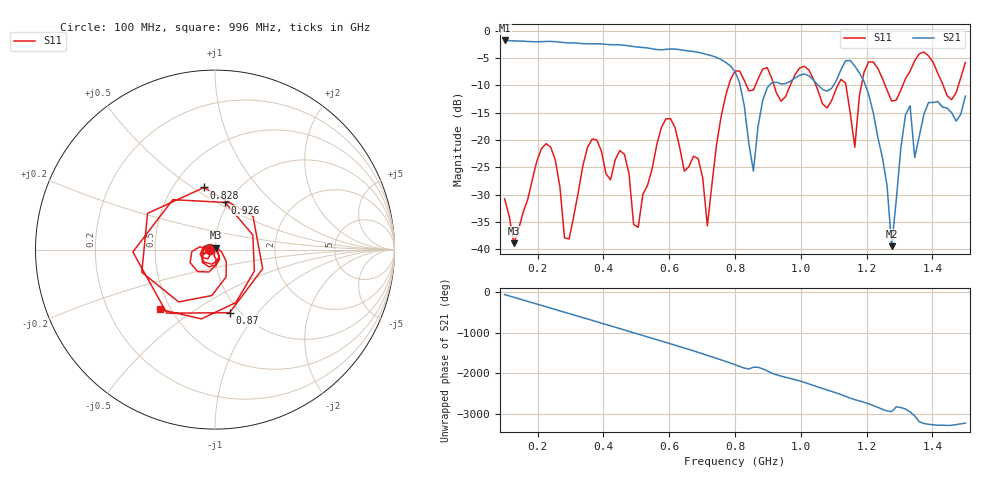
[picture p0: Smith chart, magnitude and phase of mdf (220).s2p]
! NanoVNA-App
! Date: 2025-09-25 15:40:08
! Start: 100MHz Stop: 1,5GHz Points: 101
! S-Parameter data: F S11 S21 S12 S22
# Hz S RI R 50
!  Frequency  S11_Real  S11_Imag  S21_Real  S21_Imag  S12_Real  S12_Imag  S22_Real  S22_Imag
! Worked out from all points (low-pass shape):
!   101 points, 100 MHz to 1.5 GHz, reference 50 ohm
!   highest |S21| = -1.80 dB at 100 MHz (marker M1); lowest = -39.4 dB at 1.276 GHz (marker M2)
!   |S21| within 3 dB of the highest: start of sweep to 739.2 MHz
!   lowest |S11| = -38.9 dB at 128 MHz (marker M3), VSWR 1.02, Z = 50.3 + j1.08 ohm
!   |S11| at or under -10 dB: start of sweep to 781 MHz; 1.046 GHz to 1.113 GHz (66.93 MHz wide, 6.2 % of centre); 1.256 GHz to 1.31 GHz (53.73 MHz wide, 4.19 % of centre) (the widest 3 of 7)
!   S12 and S22 are empty: the file has one direction only
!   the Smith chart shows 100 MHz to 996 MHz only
!   S11 on the Smith chart (normalised r, x): 100 MHz: 0.94, -0.01; 828 MHz: 0.70, +0.56; 870 MHz: 0.90, -0.73; 926 MHz: 0.97, +0.55; 996 MHz: 0.44, -0.37
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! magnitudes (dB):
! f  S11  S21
! 100 MHz  -30.8  -1.8
! 128 MHz  -38.9  -1.9
! 212 MHz  -21.6  -2.0
! 282 MHz  -37.9  -2.2
! 338 MHz  -24.7  -2.4
! 464 MHz  -22.6  -2.7
! 506 MHz  -36.0  -3.0
! 576 MHz  -17.8  -3.5
! 716 MHz  -35.7  -4.4
! 800 MHz  -7.4  -7.5
! 828 MHz  -9.1  -13.7
! 856 MHz  -10.9  -25.7
! 870 MHz  -8.9  -17.5
! 926 MHz  -11.4  -9.4
! 996 MHz  -6.9  -8.2
! 1.038 GHz  -8.8  -9.0
! 1.136 GHz  -9.6  -5.5
! 1.164 GHz  -21.3  -6.5
! 1.192 GHz  -7.6  -9.3
! 1.276 GHz  -12.9  -39.4
! 1.318 GHz  -8.8  -15.4
! 1.5 GHz  -5.8  -12.0
